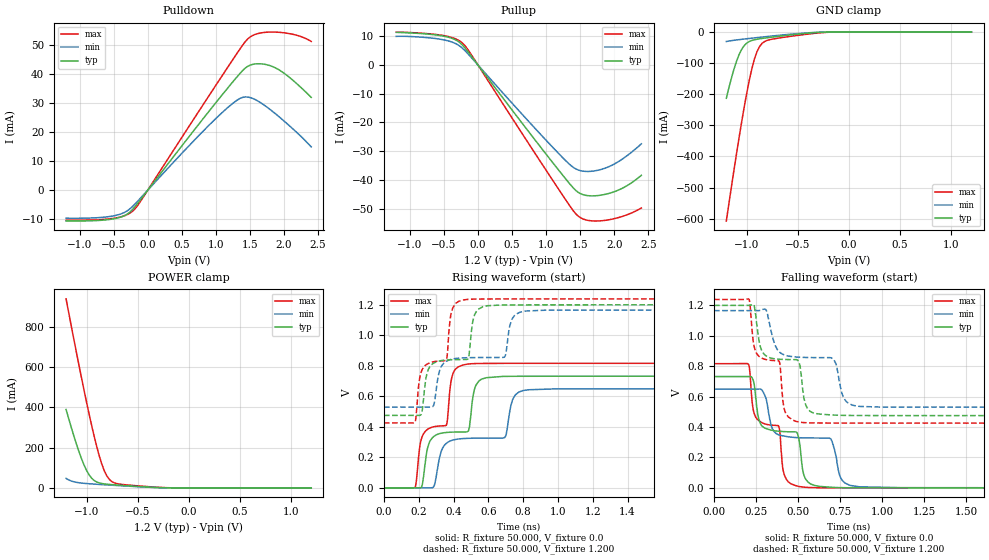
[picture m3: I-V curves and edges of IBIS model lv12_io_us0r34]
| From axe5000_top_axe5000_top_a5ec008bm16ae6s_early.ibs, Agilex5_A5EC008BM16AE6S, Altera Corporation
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[Model] lv12_io_us0r34
Model_type I/O
Polarity   Non-Inverting
Enable   Active-High
Vmeas =  0.600V
Vinl =  0.420V
Vinh =  0.780V
C_comp   0.816pF   0.804pF   0.821pF
[Model Spec]
Vinh   0.780V   0.741V   0.819V
Vinl   0.420V   0.399V   0.441V
[Temperature Range]   25.000   100.000   0.0
[Voltage Range]   1.200V   1.140V   1.260V
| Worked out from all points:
|   slope of the pulldown table from 0 to 0.18 V, typ, clamps not added: 32.6 ohm
|   slope of the pullup table from 0 to 0.18 V, typ, clamps not added: 31.8 ohm
|   GND clamp passes 1 mA (typ) near -0.29 V on its own axis
|   POWER clamp passes 1 mA (typ) near -0.28 V on its own axis
|   rising waveform, R_fixture 50.000, V_fixture 0.0: 20-80 % time 275ps typ, 418ps min, 184ps max; typ from 0 V to 0.732 V
|   rising waveform, R_fixture 50.000, V_fixture 1.200: 20-80 % time 275ps typ, 417ps min, 185ps max; typ from 0.475 V to 1.2 V
|   falling waveform, R_fixture 50.000, V_fixture 0.0: 20-80 % time 275ps typ, 417ps min, 185ps max; typ from 0.732 V to 0 V
|   falling waveform, R_fixture 50.000, V_fixture 1.200: 20-80 % time 275ps typ, 416ps min, 185ps max; typ from 1.2 V to 0.475 V
[Pulldown]
|Voltage   I(typ)   I(min)   I(max)
-1.2V     -10.65mA   -9.694mA   -10.36mA
-497mV    -9.884mA   -8.858mA   -9.711mA
-312mV    -8.421mA   -7.292mA   -8.562mA
-201mV    -6.081mA   -5.105mA   -6.785mA
909mV     27.52mA    22.63mA    32.95mA
1.205V    36.13mA    29.11mA    43.51mA
1.39V     41.19mA    31.99mA    49.95mA
1.538V    43.39mA    31.67mA    53.35mA
1.686V    43.53mA    29.71mA    54.35mA
1.834V    42.62mA    27.12mA    54.56mA
2.167V    37.16mA    20.36mA    53.57mA
2.4V      32.01mA    14.93mA    51.32mA
[Pullup]
|Voltage   I(typ)   I(min)   I(max)
-1.2V     11.32mA    9.931mA    11.44mA
-523mV    10.1mA     8.816mA    10.29mA
-338mV    8.831mA    7.543mA    9.178mA
-227mV    6.895mA    5.804mA    7.607mA
-116mV    3.643mA    3.085mA    4.247mA
1.105V    -34.16mA   -28.8mA    -40.36mA
1.364V    -41.8mA    -34.95mA   -49.52mA
1.475V    -44.35mA   -36.55mA   -52.63mA
1.66V     -45.53mA   -36.99mA   -54.2mA
1.919V    -44.7mA    -35.42mA   -53.86mA
2.141V    -42.63mA   -32.4mA    -52.51mA
2.4V      -38.38mA   -27.43mA   -49.74mA
[GND_clamp]
|Voltage   I(typ)   I(min)   I(max)
-1.2V     -212.9mA   -30.44mA   -607.7mA
-1.125V   -119.2mA   -26.55mA   -443.5mA
-1.075V   -72.5mA    -24.45mA   -339.1mA
-1.025V   -43.63mA   -22.51mA   -241.4mA
-975mV    -30.38mA   -20.65mA   -154.8mA
-925mV    -24.87mA   -18.84mA   -86.98mA
-900mV    -23.22mA   -17.94mA   -63.11mA
-850mV    -20.66mA   -16.17mA   -36.37mA
-800mV    -18.45mA   -14.43mA   -26.89mA
-725mV    -15.34mA   -11.9mA    -21.43mA
-200mV    -128.5uA   -101.6uA   -681.8uA
1.2V      0A         0A         0A
[POWER_clamp]
|Voltage   I(typ)   I(min)   I(max)
-1.2V     389.4mA    46.84mA    938.7mA
-1.125V   259.6mA    30.37mA    740.7mA
-1.075V   181.4mA    25.45mA    612mA
-1.025V   114.5mA    22.53mA    486.9mA
-975mV    64.77mA    20.41mA    367.3mA
-900mV    29.04mA    17.78mA    205.2mA
-850mV    21.58mA    16.16mA    117.7mA
-800mV    18.19mA    14.57mA    58.38mA
-750mV    15.96mA    13.02mA    30.41mA
-650mV    12.21mA    9.988mA    16.84mA
-225mV    311.2uA    332.2uA    946.7uA
1.2V      0A         0A         0A
[Ramp]
| variable   typ   min   max
dV/dt_r   0.439/0.274n   0.390/0.417n   0.490/0.184n
dV/dt_f   0.435/0.274n   0.383/0.416n   0.488/0.185n
R_load = 50.000
[Initial_Delay]  | This keyword provides information on removable delay(s)
|  time table   typ   min   max
   V-T   0.208n   0.271n   0.175n
   I-T   86.000p   86.000p   0.105n
[Rising Waveform]
R_fixture= 50.000
V_fixture= 0.0
|time   V(typ)   V(min)   V(max)
0s        3.63uV     15.03uV    13.08uV
177ps     7.352uV    18.02uV    1.391mV
219ps     13.87mV    17.91uV    333.4mV
278ps     327.8mV    943.7uV    398mV
359ps     362.9mV    291.7mV    411.3mV
391ps     365mV      311.4mV    728.1mV
452ps     366.4mV    322.7mV    804.7mV
589ps     722mV      326.1mV    815.5mV
830ps     731.4mV    642.8mV    816.1mV
3ns       731.9mV    649.7mV    816.4mV
[Rising Waveform]
R_fixture= 50.000
V_fixture= 1.200
|time   V(typ)   V(min)   V(max)
0s        474.9mV    529.1mV    425.4mV
177ps     474.9mV    529.1mV    427.6mV
218ps     493.7mV    529.1mV    770.6mV
265ps     797.5mV    528.9mV    820mV
357ps     837.8mV    828.4mV    834.9mV
390ps     839.8mV    843.3mV    1.16V
451ps     841mV      851.7mV    1.231V
595ps     1.194V     854.5mV    1.238V
812ps     1.199V     1.159V     1.238V
3ns       1.2V       1.166V     1.239V
[Falling Waveform]
R_fixture= 50.000
V_fixture= 0.0
|time   V(typ)   V(min)   V(max)
0s        731.9mV    649.8mV    816.4mV
206ps     732mV      649.8mV    811mV
243ps     648.7mV    649.8mV    476.1mV
287ps     405.1mV    640.1mV    427.7mV
385ps     372.2mV    348.6mV    405.1mV
497ps     355.9mV    330.2mV    11.37mV
542ps     64.03mV    328.6mV    3.896mV
630ps     9.308mV    327.7mV    740.6uV
865ps     297.5uV    6.906mV    154uV
3ns       36.34uV    87.66uV    58.66uV
[Falling Waveform]
R_fixture= 50.000
V_fixture= 1.200
|time   V(typ)   V(min)   V(max)
0s        1.2V       1.166V     1.239V
209ps     1.2V       1.166V     1.239V
248ps     1.137V     1.166V     896.8mV
300ps     876.5mV    1.176V     846.4mV
386ps     846.1mV    896.9mV    834.5mV
422ps     844.2mV    872.5mV    502.6mV
498ps     839.8mV    859.6mV    434.5mV
630ps     485mV      856.2mV    426.5mV
865ps     475.7mV    535.5mV    425.7mV
3ns       474.9mV    529.1mV    425.4mV
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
